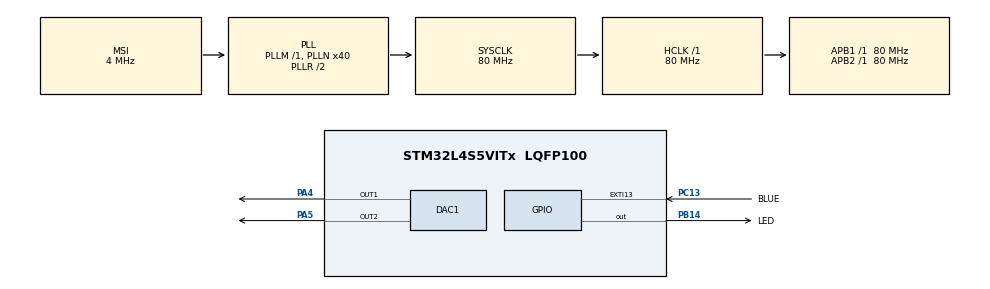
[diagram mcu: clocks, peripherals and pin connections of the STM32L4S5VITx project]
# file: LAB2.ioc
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DAC1.DAC_Channel-DAC_OUT2=DAC_CHANNEL_2
Mcu.Family=STM32L4
Mcu.Name=STM32L4S5VITx
Mcu.Package=LQFP100
NVIC.PriorityGroup=NVIC_PRIORITYGROUP_4
PA13\ (JTMS/SWDIO).Signal=SYS_JTMS-SWDIO
PA4.Signal=COMP_DAC11_group
PA5.Signal=COMP_DAC12_group
PB14.GPIO_Label=LED
PB14.Signal=GPIO_Output
PB3\ (JTDO/TRACESWO).Signal=SYS_JTDO-SWO
PC13.GPIO_Label=BLUE
PC13.Signal=GPXTI13
ProjectManager.HeapSize=0x200
ProjectManager.StackSize=0x400
ProjectManager.TargetToolchain=STM32CubeIDE
RCC.ADCFreq_Value=48000000
RCC.AHBFreq_Value=80000000
RCC.APB1Freq_Value=80000000
RCC.APB1TimFreq_Value=80000000
RCC.APB2Freq_Value=80000000
RCC.APB2TimFreq_Value=80000000
RCC.CortexFreq_Value=80000000
RCC.HCLKFreq_Value=80000000
RCC.HSE_VALUE=8000000
RCC.HSI48_VALUE=48000000
RCC.HSI_VALUE=16000000
RCC.LSE_VALUE=32768
RCC.MSI_VALUE=4000000
RCC.PLLN=40
RCC.PLLSAI1N=24
RCC.SYSCLKFreq_VALUE=80000000
RCC.SYSCLKSource=RCC_SYSCLKSOURCE_PLLCLK
RCC.USBFreq_Value=48000000
RCC.VCOOutputFreq_Value=160000000
SH.COMP_DAC11_group.0=DAC1_OUT1,DAC_OUT1
SH.COMP_DAC12_group.0=DAC1_OUT2,DAC_OUT2
board=B-L4S5I-IOT01A

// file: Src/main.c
/* USER CODE BEGIN Header */
/**
  ******************************************************************************
  * @file           : main.c
  * @brief          : Main program body
  ******************************************************************************
  * @attention
  *
  * Copyright (c) 2022 STMicroelectronics.
  * All rights reserved.
  *
  * This software is licensed under terms that can be found in the LICENSE file
  * in the root directory of this software component.
  * If no LICENSE file comes with this software, it is provided AS-IS.
  *
  ******************************************************************************
  */
/* USER CODE END Header */
#include "main.h"

#define ARM_MATH_CM4
#include "arm_math.h"

DAC_HandleTypeDef hdac1;

void SystemClock_Config(void);
static void MX_GPIO_Init(void);
static void MX_DAC1_Init(void);

int main(void)
{

  /* MCU Configuration--------------------------------------------------------*/

  /* Reset of all peripherals, Initializes the Flash interface and the Systick. */
  HAL_Init();

  /* Configure the system clock */
  SystemClock_Config();

  /* Initialize all configured peripherals */
  MX_GPIO_Init();
  MX_DAC1_Init();
  /* USER CODE BEGIN 2 */

  HAL_DAC_Start(&hdac1, DAC_CHANNEL_1);
  HAL_DAC_Start(&hdac1, DAC_CHANNEL_2);

  int triangleValue = 0;
  int triangleIncrement = 45;
  int triangleFlag = 0;

  int sawValue = 0;
  int sawIncrement = 19;

  int zeroFlag = 0;

  float32_t temp = 0;
  float32_t radian = 0;
  float32_t radianIncrement = 0.2;

  uint8_t conv = 0;

  /* USER CODE END 2 */

  /* Infinite loop */
  while (1)
  {

    /* USER CODE BEGIN 3 */

	  // ---------------------------- LIGHT -----------------
	  if(HAL_GPIO_ReadPin(GPIOC, BLUE_Pin) == GPIO_PIN_RESET) {
		  HAL_GPIO_WritePin(GPIOB, LED_Pin, GPIO_PIN_SET);
	  } else {
		  HAL_GPIO_WritePin(GPIOB, LED_Pin, GPIO_PIN_RESET);
	  }
	  // ----------------------------------------------------

	  // -----------------------TRIANGLE---------------
	  if(triangleValue > 254) {
		  triangleFlag = 1; // go down
	  } else if (triangleValue < 0.5) {
		  triangleFlag = 0; // go up
	  }

	  if(triangleFlag == 1) {
		  triangleValue -= triangleIncrement;
		  if(triangleValue > 60000) {
			  triangleValue = 0;
		  }
	  } else {
		  if(zeroFlag == 0) {
			  triangleValue += 0;
		  } else {
			  triangleValue += triangleIncrement;
		  }
	  }
	  // --------------------------- SAW ----------------

	  if(zeroFlag == 0) {
		  sawValue += 0;
	  } else {
		  sawValue += sawIncrement;
	  }
	  if(sawValue > 255) {
		  sawValue = 0; // go down
	  }
	  // ------------------------------------------------

	  // --------------------------- SINE ---------------

	  if(zeroFlag == 0) {
		  radian += 0;
	  } else {
		  radian += radianIncrement;
	  }
	  if(radian > 6.284) {
		  radian = 0; // reset
	  }

	  // ------------------------------------------------

	  temp = arm_sin_f32(radian);
	  conv = (uint8_t) ((int)((temp * 100) + 100));

	  //HAL_DAC_SetValue(&hdac1, DAC_CHANNEL_1, DAC_ALIGN_8B_R, (uint8_t) triangleValue);

	  HAL_DAC_SetValue(&hdac1, DAC_CHANNEL_1, DAC_ALIGN_8B_R, conv);

	  HAL_DAC_SetValue(&hdac1, DAC_CHANNEL_2, DAC_ALIGN_8B_R, (uint8_t) sawValue);

	  zeroFlag = 1;

	  HAL_Delay(0.5);

  }
  /* USER CODE END 3 */
}

void SystemClock_Config(void)
{
  RCC_OscInitTypeDef RCC_OscInitStruct = {0};
  RCC_ClkInitTypeDef RCC_ClkInitStruct = {0};

  /** Configure the main internal regulator output voltage
  */
  if (HAL_PWREx_ControlVoltageScaling(PWR_REGULATOR_VOLTAGE_SCALE1) != HAL_OK)
  {
    Error_Handler();
  }

  /** Initializes the RCC Oscillators according to the specified parameters
  * in the RCC_OscInitTypeDef structure.
  */
  RCC_OscInitStruct.OscillatorType = RCC_OSCILLATORTYPE_MSI;
  RCC_OscInitStruct.MSIState = RCC_MSI_ON;
  RCC_OscInitStruct.MSICalibrationValue = 0;
  RCC_OscInitStruct.MSIClockRange = RCC_MSIRANGE_6;
  RCC_OscInitStruct.PLL.PLLState = RCC_PLL_ON;
  RCC_OscInitStruct.PLL.PLLSource = RCC_PLLSOURCE_MSI;
  RCC_OscInitStruct.PLL.PLLM = 1;
  RCC_OscInitStruct.PLL.PLLN = 40;
  RCC_OscInitStruct.PLL.PLLP = RCC_PLLP_DIV2;
  RCC_OscInitStruct.PLL.PLLQ = RCC_PLLQ_DIV2;
  RCC_OscInitStruct.PLL.PLLR = RCC_PLLR_DIV2;
  if (HAL_RCC_OscConfig(&RCC_OscInitStruct) != HAL_OK)
  {
    Error_Handler();
  }

  /** Initializes the CPU, AHB and APB buses clocks
  */
  RCC_ClkInitStruct.ClockType = RCC_CLOCKTYPE_HCLK|RCC_CLOCKTYPE_SYSCLK
                              |RCC_CLOCKTYPE_PCLK1|RCC_CLOCKTYPE_PCLK2;
  RCC_ClkInitStruct.SYSCLKSource = RCC_SYSCLKSOURCE_PLLCLK;
  RCC_ClkInitStruct.AHBCLKDivider = RCC_SYSCLK_DIV1;
  RCC_ClkInitStruct.APB1CLKDivider = RCC_HCLK_DIV1;
  RCC_ClkInitStruct.APB2CLKDivider = RCC_HCLK_DIV1;

  if (HAL_RCC_ClockConfig(&RCC_ClkInitStruct, FLASH_LATENCY_3) != HAL_OK)
  {
    Error_Handler();
  }
}

static void MX_DAC1_Init(void)
{

  DAC_ChannelConfTypeDef sConfig = {0};

  /** DAC Initialization
  */
  hdac1.Instance = DAC1;
  if (HAL_DAC_Init(&hdac1) != HAL_OK)
  {
    Error_Handler();
  }

  /** DAC channel OUT1 config
  */
  sConfig.DAC_SampleAndHold = DAC_SAMPLEANDHOLD_DISABLE;
  sConfig.DAC_Trigger = DAC_TRIGGER_NONE;
  sConfig.DAC_HighFrequency = DAC_HIGH_FREQUENCY_INTERFACE_MODE_ABOVE_80MHZ;
  sConfig.DAC_OutputBuffer = DAC_OUTPUTBUFFER_ENABLE;
  sConfig.DAC_ConnectOnChipPeripheral = DAC_CHIPCONNECT_DISABLE;
  sConfig.DAC_UserTrimming = DAC_TRIMMING_FACTORY;
  if (HAL_DAC_ConfigChannel(&hdac1, &sConfig, DAC_CHANNEL_1) != HAL_OK)
  {
    Error_Handler();
  }

  /** DAC channel OUT2 config
  */
  if (HAL_DAC_ConfigChannel(&hdac1, &sConfig, DAC_CHANNEL_2) != HAL_OK)
  {
    Error_Handler();
  }

}

static void MX_GPIO_Init(void)
{
  GPIO_InitTypeDef GPIO_InitStruct = {0};

  /* GPIO Ports Clock Enable */
  __HAL_RCC_GPIOC_CLK_ENABLE();
  __HAL_RCC_GPIOA_CLK_ENABLE();
  __HAL_RCC_GPIOB_CLK_ENABLE();

  /*Configure GPIO pin Output Level */
  HAL_GPIO_WritePin(LED_GPIO_Port, LED_Pin, GPIO_PIN_RESET);

  /*Configure GPIO pin : BLUE_Pin */
  GPIO_InitStruct.Pin = BLUE_Pin;
  GPIO_InitStruct.Mode = GPIO_MODE_IT_RISING;
  GPIO_InitStruct.Pull = GPIO_NOPULL;
  HAL_GPIO_Init(BLUE_GPIO_Port, &GPIO_InitStruct);

  /*Configure GPIO pin : LED_Pin */
  GPIO_InitStruct.Pin = LED_Pin;
  GPIO_InitStruct.Mode = GPIO_MODE_OUTPUT_PP;
  GPIO_InitStruct.Pull = GPIO_NOPULL;
  GPIO_InitStruct.Speed = GPIO_SPEED_FREQ_LOW;
  HAL_GPIO_Init(LED_GPIO_Port, &GPIO_InitStruct);

}

void Error_Handler(void)
{
  __disable_irq();
  while (1)
  {
  }
}
